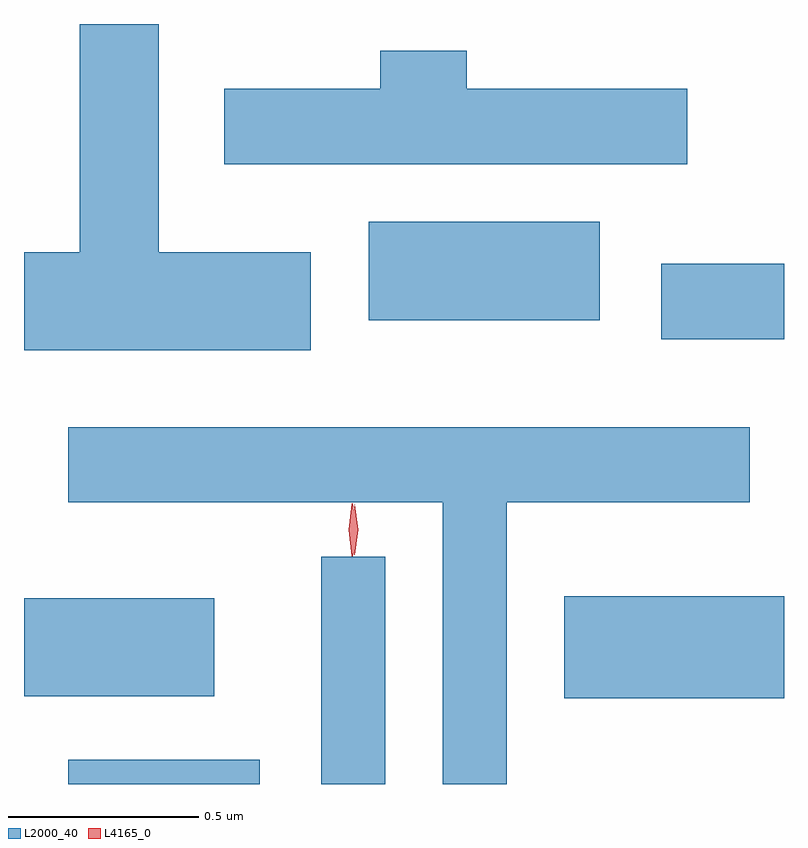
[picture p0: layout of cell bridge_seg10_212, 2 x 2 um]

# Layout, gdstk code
import gdstk
lib = gdstk.Library(unit=1e-6, precision=1e-09)
def R(c, l, rs):  # rectangles x0, y0, x1, y1
    for r in rs: c.add(gdstk.rectangle(r[:2], r[2:], *l))
def P(c, l, *ps):  # polygons
    for p in ps: c.add(gdstk.Polygon(p, *l))
L2000_40 = (2000, 40)
L4165_0 = (4165, 0)

bridge_seg10_212 = lib.new_cell('bridge_seg10_212')
R(bridge_seg10_212, L2000_40, [(1909.926,2141.575,1910.429,2141.639), (1910.591,2141.575,1910.759,2142.173), (1911.231,2141.801,1911.809,2142.069), (1909.809,2141.806,1910.309,2142.064), (1911.486,2142.746,1911.809,2142.944), (1910.716,2142.796,1911.324,2143.054)])
P(bridge_seg10_212, L2000_40, [(1910.564,2142.974),(1910.164,2142.974),(1910.164,2143.575),(1909.956,2143.575),(1909.956,2142.974),(1909.809,2142.974),(1909.809,2142.716),(1910.564,2142.716)],
  [(1911.554,2143.404),(1910.974,2143.404),(1910.974,2143.504),(1910.746,2143.504),(1910.746,2143.404),(1910.336,2143.404),(1910.336,2143.206),(1911.554,2143.206)],
  [(1911.079,2142.316),(1911.719,2142.316),(1911.719,2142.514),(1909.926,2142.514),(1909.926,2142.316),(1910.911,2142.316),(1910.911,2141.575),(1911.079,2141.575)])
P(bridge_seg10_212, L4165_0, [(1910.678,2142.178),(1910.669,2142.244),(1910.679,2142.31),(1910.679,2142.311),(1910.68,2142.31),(1910.689,2142.244),(1910.679,2142.178),(1910.679,2142.178)],
  [(1910.673,2142.174),(1910.672,2142.175),(1910.663,2142.244),(1910.672,2142.313),(1910.673,2142.314),(1910.674,2142.313),(1910.683,2142.244),(1910.674,2142.175)])

lib.write_gds('bridge_seg10_212.gds')
